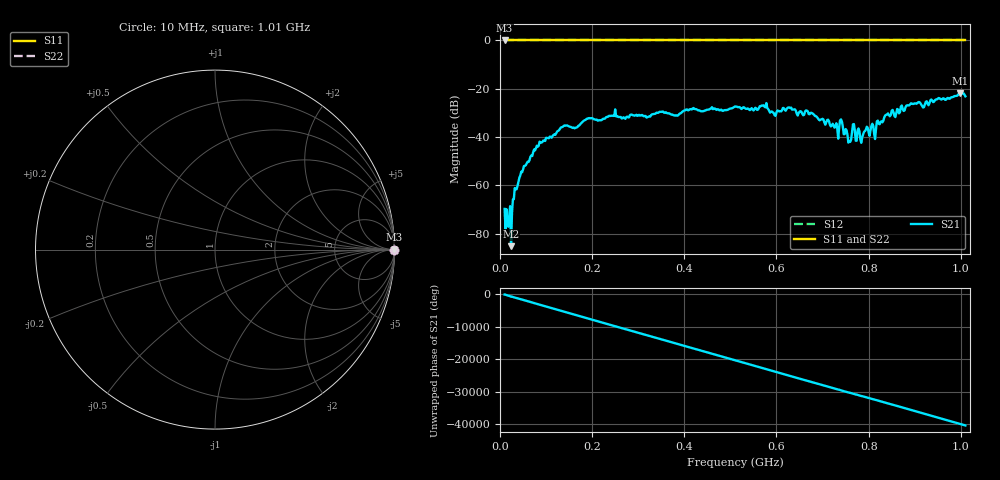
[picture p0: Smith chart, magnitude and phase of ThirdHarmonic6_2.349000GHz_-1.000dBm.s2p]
! 8/17/2025 3:31:44 AM
! C:\ANRITSUVNA\TEMP\TEMP.S2P
! CHANNEL.1
! TR.MEASUREMENT
! RAW.DATA
! RF.CORRECTION.OFF
! AVERAGING.OFF
! IF.BANDWIDTH: 5KHZ
! SWEEPTYPE:  FREQ.SWEEP(Linear)
! Reference Plane Port Info
! PORT:  PORT1  PORT2
! DISTANCE:  0  m  0  m
! TIME:  0  s  0  s
! PHASE.OFFSET:  0  deg.  0  deg.
! LOSS:  0  dB  0  dB
! REF.LOSS:  0  dB  0  dB
! REF.FREQ:  0  Hz  0  Hz
! Power Info
! POWER:  -20  dBm  -20  dBm
! EFF.POWER:  -20  dBm  -20  dBm
! SOURCE.ATTEN:  0  dB  0  dB
! TEST.ATTEN:  0  dB  0  dB
# GHZ S RI R 50.0
! FREQ.GHZ  S11RE  S11IM  S21RE  S21IM  S12RE  S12IM  S22RE  S22IM
!; PortSelection: Port_12
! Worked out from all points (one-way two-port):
!   501 points, 10 MHz to 1.01 GHz, reference 50 ohm
!   highest |S21| = -21.83 dB at 998 MHz (marker M1); lowest = -85.2 dB at 24 MHz (marker M2)
!   lowest |S11| = 0.0 dB at 10 MHz (marker M3)
!   |S11| at or under -10 dB: nowhere
!   |S22| runs from 0.0 to 0.0 dB; largest |S21 - S12| = 1.1
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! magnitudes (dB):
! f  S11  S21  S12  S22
! 10 MHz  0.0  -69.8  0.0  0.0
! 20 MHz  0.0  -72.8  0.0  0.0
! 24 MHz  0.0  -85.2  0.0  0.0
! 32 MHz  0.0  -61.1  0.0  0.0
! 46 MHz  0.0  -54.4  0.0  0.0
! 82 MHz  0.0  -44.0  0.0  0.0
! 136 MHz  0.0  -35.8  0.0  0.0
! 178 MHz  0.0  -34.0  0.0  0.0
! 344 MHz  0.0  -29.9  0.0  0.0
! 382 MHz  0.0  -31.0  0.0  0.0
! 510 MHz  0.0  -27.4  0.0  0.0
! 678 MHz  0.0  -30.2  0.0  0.0
! 730 MHz  0.0  -34.3  0.0  0.0
! 740 MHz  0.0  -32.7  0.0  0.0
! 758 MHz  0.0  -41.6  0.0  0.0
! 766 MHz  0.0  -34.8  0.0  0.0
! 786 MHz  0.0  -40.2  0.0  0.0
! 794 MHz  0.0  -36.9  0.0  0.0
! 814 MHz  0.0  -40.8  0.0  0.0
! 844 MHz  0.0  -30.9  0.0  0.0
! 998 MHz  0.0  -21.8  0.0  0.0
! 1.01 GHz  0.0  -23.1  0.0  0.0
